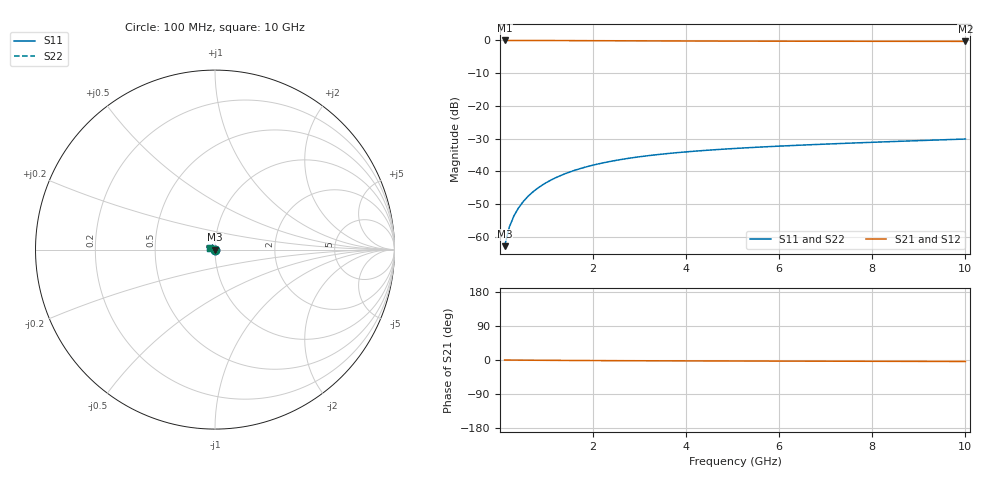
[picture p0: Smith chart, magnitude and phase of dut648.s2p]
! Touchstone file exported from HFSS 2024.1.0
!  File:  C:/UserFiles/LocalFiles/RDL_TSV_Batchsim/temp_TSV1_648_1779791783.aedt
!  Generated:  06:42:05 PM May 26, 2026
!  Design:  TSV1
!  Project:  temp_TSV1_648_1779791783
!  Setup:  Setup1
!  Solution:  Sweep
! Variables:
!  dtsv = 8.06um
!  hbump = 3um
!  htsv = 57.46um
!  lrdl = 252.1521522um
!  p = 40
!  p1 = 51.08um
!  t = 500um
!  trdl = 3um
!  wrdl = 24.89489489um
# GHz S MA R 50.000000
! Terminal data exported
! Port[1] = TSV22_T1
! Port[2] = TSV22_T2
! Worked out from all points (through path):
!   100 points, 100 MHz to 10 GHz, reference 50 ohm
!   highest |S21| = 0.00 dB at 100 MHz (marker M1); lowest = -0.3 dB at 10 GHz (marker M2)
!   lowest |S11| = -62.9 dB at 100 MHz (marker M3), VSWR 1.00, Z = 50 - j0.07 ohm
!   |S11| at or under -10 dB: start of sweep to end of sweep
!   |S22| runs from -62.9 to -30.1 dB; largest |S21 - S12| = 4.8e-15
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0.1  0.0007171 -77.2  0.9998 -0.1  0.9998 -0.1  0.0007171 -77.2
! Gamma 0 0 0 0
! Port Impedance 50 0 50 0
0.2  0.001397 -86.6  0.9997 -0.2  0.9997 -0.2  0.001397 -86.6
0.3  0.002083 -91.3  0.9996 -0.3  0.9996 -0.3  0.002083 -91.3
0.4  0.002767 -94.6  0.9994 -0.4  0.9994 -0.4  0.002767 -94.6
0.5  0.003448 -97.4  0.9991 -0.4  0.9991 -0.4  0.003448 -97.4
0.6  0.004123 -100.0  0.9988 -0.5  0.9988 -0.5  0.004123 -100.0
0.7  0.004791 -102.4  0.9985 -0.6  0.9985 -0.6  0.004791 -102.4
0.8  0.005451 -104.7  0.9981 -0.7  0.9981 -0.7  0.005451 -104.7
0.9  0.006102 -106.9  0.9977 -0.8  0.9977 -0.8  0.006102 -106.9
1.1  0.007372 -111.1  0.9968 -0.9  0.9968 -0.9  0.007372 -111.1
1.4  0.009183 -117.0  0.9953 -1.1  0.9953 -1.1  0.009183 -117.0
1.6  0.01032 -120.8  0.9941 -1.3  0.9941 -1.3  0.01032 -120.8
1.8  0.0114 -124.4  0.993 -1.4  0.993 -1.4  0.0114 -124.4
2.1  0.01291 -129.5  0.9912 -1.6  0.9912 -1.6  0.01291 -129.5
2.5  0.01471 -135.9  0.9888 -1.8  0.9888 -1.8  0.01471 -135.9
2.9  0.01631 -141.9  0.9865 -1.9  0.9865 -1.9  0.01631 -141.9
3.4  0.01804 -148.7  0.9839 -2.1  0.9839 -2.1  0.01804 -148.7
4.2  0.02034 -158.2  0.9802 -2.4  0.9802 -2.4  0.02034 -158.2
5.1  0.02245 -167.4  0.977 -2.6  0.977 -2.6  0.02245 -167.4
6.7  0.02552 179.2  0.973 -3.1  0.973 -3.1  0.02552 179.2
8.4  0.02843 167.9  0.9702 -3.5  0.9702 -3.5  0.02843 167.9
10  0.03114 159.2  0.9683 -4.0  0.9683 -4.0  0.03114 159.2
